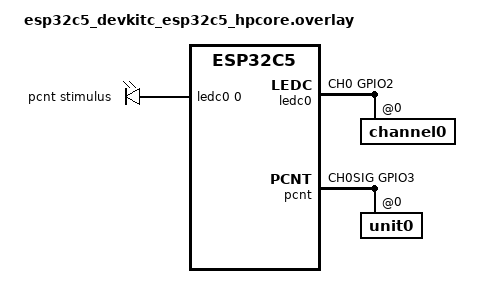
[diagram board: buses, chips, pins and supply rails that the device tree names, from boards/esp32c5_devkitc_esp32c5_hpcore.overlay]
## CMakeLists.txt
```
# SPDX-License-Identifier: Apache-2.0

cmake_minimum_required(VERSION 3.20.0)
find_package(Zephyr REQUIRED HINTS $ENV{ZEPHYR_BASE})
project(app_more_services8)

zephyr_syscall_header(${CMAKE_CURRENT_SOURCE_DIR}/src/svc.h)

target_sources(app PRIVATE src/main.c src/svc.c)
```

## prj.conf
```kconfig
CONFIG_USERSPACE=y
CONFIG_APPLICATION_DEFINED_SYSCALL=y

CONFIG_PWM=y
CONFIG_SENSOR=y

CONFIG_LOG=y
CONFIG_LOG_MODE_MINIMAL=y
CONFIG_THREAD_NAME=y

CONFIG_MAIN_STACK_SIZE=4096
```

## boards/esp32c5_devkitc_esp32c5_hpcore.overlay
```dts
/*
 * Copyright (c) 2026 Espressif Systems (Shanghai) Co., Ltd.
 *
 * SPDX-License-Identifier: Apache-2.0
 */

#include <zephyr/dt-bindings/pinctrl/esp32c5-pinctrl.h>
#include <zephyr/dt-bindings/pwm/pwm.h>

/*
 * The LEDC PWM output (GPIO2) is the pulse stimulus and the PCNT signal input is
 * on GPIO3. Wire a jumper from GPIO2 to GPIO3 so a PWM burst is counted by the
 * pulse counter.
 */
/ {
	stim_pwm: stim_pwm {
		compatible = "pwm-leds";

		stim_pwm_ch: stim_pwm_ch {
			pwms = <&ledc0 0 PWM_HZ(1000) PWM_POLARITY_NORMAL>;
			label = "pcnt stimulus";
		};
	};

	aliases {
		pcnt-stim = &stim_pwm_ch;
	};
};

&pinctrl {
	ledc0_default: ledc0_default {
		group1 {
			pinmux = <LEDC_CH0_GPIO2>;
			output-enable;
		};
	};

	pcnt_default: pcnt_default {
		group1 {
			pinmux = <PCNT0_CH0SIG_GPIO3>;
			input-enable;
			bias-pull-down;
		};
	};
};

&ledc0 {
	pinctrl-0 = <&ledc0_default>;
	pinctrl-names = "default";
	status = "okay";
	#address-cells = <1>;
	#size-cells = <0>;

	channel0@0 {
		reg = <0x0>;
		timer = <0>;
	};
};

&pcnt {
	status = "okay";
	pinctrl-0 = <&pcnt_default>;
	pinctrl-names = "default";
	#address-cells = <1>;
	#size-cells = <0>;

	unit0@0 {
		reg = <0>;
		#address-cells = <1>;
		#size-cells = <0>;
		filter = <0>;

		channelA@0 {
			reg = <0>;
			sig-pos-mode = <1>;
			sig-neg-mode = <0>;
		};
	};
};
```

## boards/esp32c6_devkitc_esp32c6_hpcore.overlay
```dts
/*
 * Copyright (c) 2026 Espressif Systems (Shanghai) Co., Ltd.
 *
 * SPDX-License-Identifier: Apache-2.0
 */

#include <zephyr/dt-bindings/pinctrl/esp32c6-pinctrl.h>
#include <zephyr/dt-bindings/pwm/pwm.h>

/*
 * The LEDC PWM output (GPIO2) is the pulse stimulus and the PCNT signal input is
 * on GPIO3. Wire a jumper from GPIO2 to GPIO3 so a PWM burst is counted by the
 * pulse counter.
 */
/ {
	stim_pwm: stim_pwm {
		compatible = "pwm-leds";

		stim_pwm_ch: stim_pwm_ch {
			pwms = <&ledc0 0 PWM_HZ(1000) PWM_POLARITY_NORMAL>;
			label = "pcnt stimulus";
		};
	};

	aliases {
		pcnt-stim = &stim_pwm_ch;
	};
};

&pinctrl {
	ledc0_default: ledc0_default {
		group1 {
			pinmux = <LEDC_CH0_GPIO2>;
			output-enable;
		};
	};

	pcnt_default: pcnt_default {
		group1 {
			pinmux = <PCNT0_CH0SIG_GPIO3>;
			input-enable;
			bias-pull-down;
		};
	};
};

&ledc0 {
	pinctrl-0 = <&ledc0_default>;
	pinctrl-names = "default";
	status = "okay";
	#address-cells = <1>;
	#size-cells = <0>;

	channel0@0 {
		reg = <0x0>;
		timer = <0>;
	};
};

&pcnt {
	status = "okay";
	pinctrl-0 = <&pcnt_default>;
	pinctrl-names = "default";
	#address-cells = <1>;
	#size-cells = <0>;

	unit0@0 {
		reg = <0>;
		#address-cells = <1>;
		#size-cells = <0>;
		filter = <0>;

		channelA@0 {
			reg = <0>;
			sig-pos-mode = <1>;
			sig-neg-mode = <0>;
		};
	};
};
```

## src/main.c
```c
/*
 * Copyright (c) 2026 Espressif Systems (Shanghai) Co., Ltd.
 *
 * SPDX-License-Identifier: Apache-2.0
 */

/*
 * An app using the hardware pulse counter through services from user mode. The
 * platform owns the PCNT unit and a stimulus pin wired to the counter's signal
 * input. The app asks for bursts of pulses and reads back the accumulated edge
 * count, never touching the counter or the gpio directly.
 */

#include "svc.h"

#include <zephyr/kernel.h>
#include <zephyr/sys/printk.h>

#define STACK_SIZE 2048
#define APP_PRIO   5

K_THREAD_STACK_DEFINE(app_stack, STACK_SIZE);
static struct k_thread app_thread;

static void app_entry(void *p1, void *p2, void *p3)
{
	ARG_UNUSED(p1); ARG_UNUSED(p2); ARG_UNUSED(p3);

	for (int round = 0; round < 4; round++) {
		uint32_t burst = 10 * (round + 1);
		int emitted = svc_pulse_emit(burst);

		int32_t count = 0;
		int rc = svc_pulse_count(&count);

		if (rc == 0) {
			printk("  [app] round %d: emitted %d pulses, counter = %d\n",
			       round, emitted, count);
		} else {
			printk("  [app] round %d: count rc=%d\n", round, rc);
		}

		k_msleep(200);
	}

	printk("  [app] done - used pulse emit + counter read\n");
}

int main(void)
{
	printk("\n*** more services 8: pulse counter (C6) ***\n");

	svc_pulse_install();

	k_tid_t t = k_thread_create(&app_thread, app_stack, STACK_SIZE, app_entry,
				    NULL, NULL, NULL, APP_PRIO, K_USER, K_FOREVER);

	k_thread_start(t);
	k_thread_join(t, K_FOREVER);

	printk("\n*** done ***\n");
	return 0;
}
```

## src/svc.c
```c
/*
 * Copyright (c) 2026 Espressif Systems (Shanghai) Co., Ltd.
 *
 * SPDX-License-Identifier: Apache-2.0
 */

#include "svc.h"

#include <zephyr/kernel.h>
#include <zephyr/device.h>
#include <zephyr/drivers/pwm.h>
#include <zephyr/drivers/sensor.h>
#include <zephyr/internal/syscall_handler.h>
#include <errno.h>

#define PULSE_MAX  1000
#define STIM_HZ    1000U

/*
 * The platform owns the pulse counter and a PWM stimulus output. The PWM signal
 * is routed on the same pin as the counter's signal input, so a fixed-frequency
 * burst is self-counted. Emitting N pulses = running the PWM for N periods.
 */
static const struct device *const pcnt_dev = DEVICE_DT_GET(DT_NODELABEL(pcnt));
static const struct pwm_dt_spec stim = PWM_DT_SPEC_GET(DT_ALIAS(pcnt_stim));

void svc_pulse_install(void)
{
	/* Idle: PWM output held low until a burst is requested. */
	if (device_is_ready(stim.dev)) {
		(void)pwm_set_dt(&stim, PWM_HZ(STIM_HZ), 0);
	}
}

int z_impl_svc_pulse_emit(uint32_t n)
{
	if (!device_is_ready(stim.dev) || n > PULSE_MAX) {
		return -EINVAL;
	}

	/* Run a 50% square wave for exactly @n periods, then stop. */
	uint32_t period = PWM_HZ(STIM_HZ);

	(void)pwm_set_dt(&stim, period, period / 2U);
	k_msleep((int32_t)((n * 1000U) / STIM_HZ));
	(void)pwm_set_dt(&stim, period, 0);

	return (int)n;
}

int z_impl_svc_pulse_count(int32_t *count)
{
	if (!device_is_ready(pcnt_dev)) {
		return -ENODEV;
	}

	int rc = sensor_sample_fetch(pcnt_dev);

	if (rc != 0) {
		return rc;
	}

	struct sensor_value v;

	rc = sensor_channel_get(pcnt_dev, SENSOR_CHAN_ROTATION, &v);
	if (rc != 0) {
		return rc;
	}

	*count = v.val1;
	return 0;
}

#ifdef CONFIG_USERSPACE
static inline int z_vrfy_svc_pulse_emit(uint32_t n)
{
	if (n > PULSE_MAX) {
		return -EINVAL;
	}
	return z_impl_svc_pulse_emit(n);
}
#include <zephyr/syscalls/svc_pulse_emit_mrsh.c>

static inline int z_vrfy_svc_pulse_count(int32_t *count)
{
	K_OOPS(K_SYSCALL_MEMORY_WRITE(count, sizeof(*count)));
	return z_impl_svc_pulse_count(count);
}
#include <zephyr/syscalls/svc_pulse_count_mrsh.c>
#endif
```

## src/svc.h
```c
/*
 * Copyright (c) 2026 Espressif Systems (Shanghai) Co., Ltd.
 *
 * SPDX-License-Identifier: Apache-2.0
 */

#ifndef APP_MORE_SERVICES8_SVC_H_
#define APP_MORE_SERVICES8_SVC_H_

#include <zephyr/kernel.h>

/*
 * An eighth batch: a hardware pulse counter. The platform owns the PCNT unit and
 * a stimulus output pin muxed to the same line as the counter's signal input, so
 * pulses are generated internally with no wiring. The app asks the platform to
 * emit N pulses, then reads the accumulated edge count - all from user mode.
 *
 *   svc_pulse_emit  - emit @n pulses on the platform-owned stimulus pin.
 *   svc_pulse_count - read the pulse counter's accumulated edge count.
 */

/* Scoped: generate @n pulses into the counter's signal line. */
__syscall int svc_pulse_emit(uint32_t n);

/* Open: latch and return the counter's accumulated edge count. */
__syscall int svc_pulse_count(int32_t *count);

/* Supervisor-only: configure the stimulus pin before launching the app. */
void svc_pulse_install(void);

#include <zephyr/syscalls/svc.h>

#endif /* APP_MORE_SERVICES8_SVC_H_ */
```
